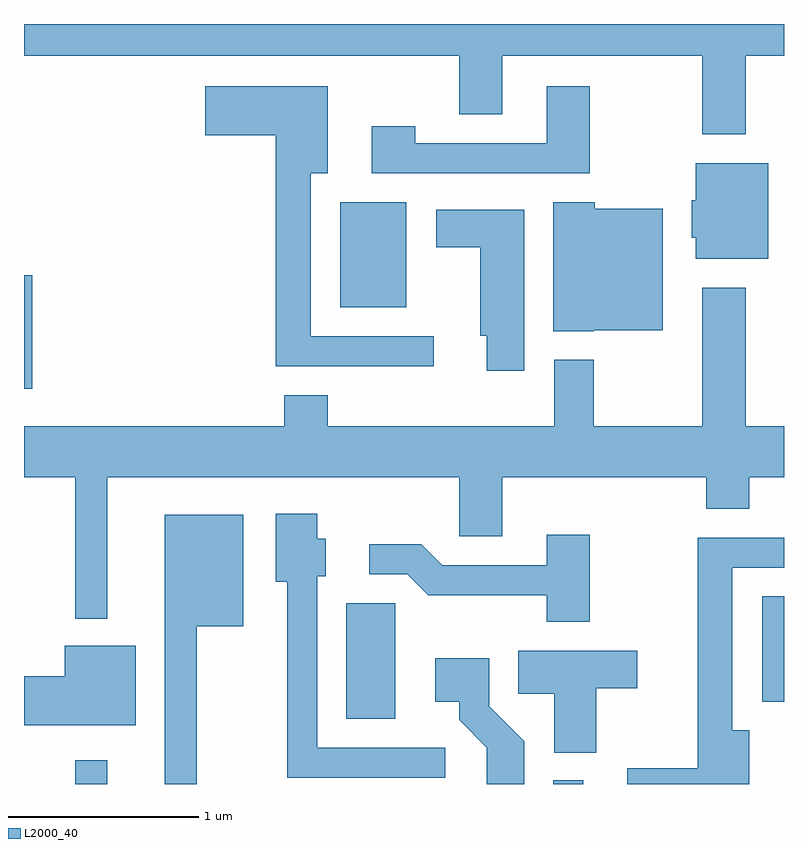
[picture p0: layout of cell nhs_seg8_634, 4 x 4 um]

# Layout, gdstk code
import gdstk
lib = gdstk.Library(unit=1e-6, precision=1e-09)
def R(c, l, rs):  # rectangles x0, y0, x1, y1
    for r in rs: c.add(gdstk.rectangle(r[:2], r[2:], *l))
def P(c, l, *ps):  # polygons
    for p in ps: c.add(gdstk.Polygon(p, *l))
L2000_40 = (2000, 40)

nhs_seg8_634 = lib.new_cell('nhs_seg8_634')
R(nhs_seg8_634, L2000_40, [(203.881,1850.342,204.049,1850.468), (206.396,1850.342,206.554,1850.363), (205.306,1850.686,205.564,1851.294), (207.496,1850.776,207.611,1851.329), (203.611,1852.421,203.654,1853.019), (205.276,1852.851,205.624,1853.404)])
P(nhs_seg8_634, L2000_40, [(207.409,1854.176),(207.611,1854.176),(207.611,1854.342),(203.611,1854.342),(203.611,1854.176),(205.901,1854.176),(205.901,1853.866),(206.129,1853.866),(206.129,1854.176),(207.181,1854.176),(207.181,1853.761),(207.409,1853.761)],
  [(206.589,1854.014),(206.361,1854.014),(206.361,1853.714),(205.669,1853.714),(205.669,1853.804),(205.441,1853.804),(205.441,1853.556),(206.589,1853.556)],
  [(205.768,1852.699),(205.119,1852.699),(205.119,1853.556),(205.209,1853.556),(205.209,1854.014),(204.566,1854.014),(204.566,1853.756),(204.936,1853.756),(204.936,1852.541),(205.768,1852.541)],
  [(207.529,1853.609),(207.146,1853.609),(207.146,1853.414),(207.126,1853.414),(207.126,1853.216),(207.146,1853.216),(207.146,1853.106),(207.529,1853.106)],
  [(206.61,1852.731),(206.974,1852.731),(206.974,1853.369),(206.614,1853.369),(206.614,1853.404),(206.396,1853.404),(206.396,1852.726),(206.61,1852.726)],
  [(206.244,1853.364),(205.781,1853.364),(205.781,1853.166),(206.011,1853.166),(206.011,1852.701),(206.046,1852.701),(206.046,1852.516),(206.244,1852.516)],
  [(204.049,1851.956),(205.901,1851.956),(205.901,1851.646),(206.129,1851.646),(206.129,1851.956),(207.201,1851.956),(207.201,1851.791),(207.429,1851.791),(207.429,1851.956),(207.611,1851.956),(207.611,1852.224),(207.409,1852.224),(207.409,1852.954),(207.181,1852.954),(207.181,1852.224),(206.609,1852.224),(206.609,1852.574),(206.401,1852.574),(206.401,1852.224),(205.209,1852.224),(205.209,1852.389),(204.981,1852.389),(204.981,1852.224),(203.611,1852.224),(203.611,1851.956),(203.881,1851.956),(203.881,1851.213),(204.049,1851.213)],
  [(205.828,1850.534),(205.154,1850.534),(205.154,1851.436),(205.199,1851.436),(205.199,1851.634),(205.154,1851.634),(205.154,1851.764),(204.936,1851.764),(204.936,1851.406),(204.996,1851.406),(204.996,1850.376),(205.828,1850.376)],
  [(204.519,1851.171),(204.764,1851.171),(204.764,1851.759),(204.351,1851.759),(204.351,1850.342),(204.519,1850.342)],
  [(206.589,1851.654),(206.361,1851.654),(206.361,1851.494),(205.812,1851.494),(205.702,1851.604),(205.428,1851.604),(205.428,1851.446),(205.629,1851.446),(205.739,1851.336),(206.361,1851.336),(206.361,1851.196),(206.589,1851.196)],
  [(207.429,1850.624),(207.339,1850.624),(207.339,1851.481),(207.611,1851.481),(207.611,1851.639),(207.156,1851.639),(207.156,1850.424),(206.786,1850.424),(206.786,1850.342),(207.429,1850.342)],
  [(204.199,1851.069),(203.826,1851.069),(203.826,1850.909),(203.611,1850.909),(203.611,1850.651),(204.199,1850.651)],
  [(206.624,1850.846),(206.839,1850.846),(206.839,1851.044),(206.211,1851.044),(206.211,1850.816),(206.401,1850.816),(206.401,1850.506),(206.624,1850.506)],
  [(206.244,1850.567),(206.059,1850.752),(206.059,1851.004),(205.776,1851.004),(205.776,1850.776),(205.901,1850.776),(205.901,1850.679),(206.046,1850.534),(206.046,1850.342),(206.244,1850.342)])

lib.write_gds('nhs_seg8_634.gds')
